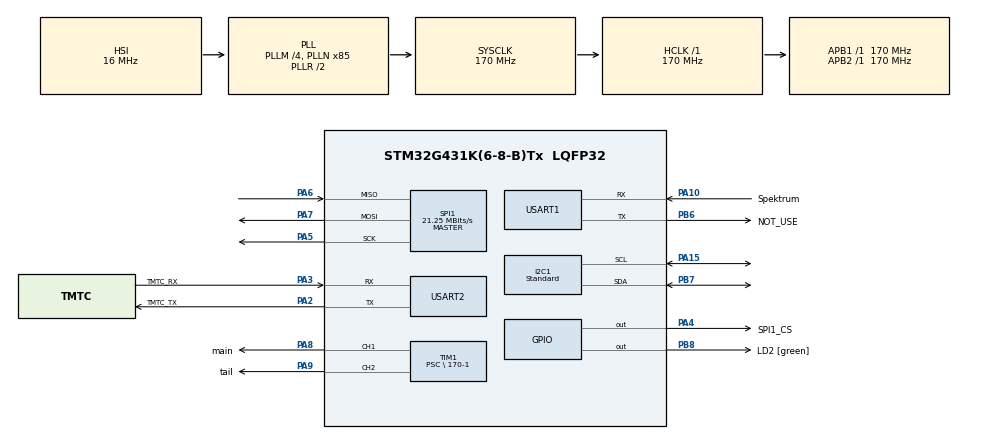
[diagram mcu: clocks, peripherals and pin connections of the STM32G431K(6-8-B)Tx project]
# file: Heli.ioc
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Dma.Request0=USART1_RX
Dma.USART1_RX.0.Direction=DMA_PERIPH_TO_MEMORY
Dma.USART1_RX.0.EventEnable=DISABLE
Dma.USART1_RX.0.Instance=DMA1_Channel1
Dma.USART1_RX.0.MemDataAlignment=DMA_MDATAALIGN_BYTE
Dma.USART1_RX.0.MemInc=DMA_MINC_ENABLE
Dma.USART1_RX.0.Mode=DMA_CIRCULAR
Dma.USART1_RX.0.PeriphDataAlignment=DMA_PDATAALIGN_BYTE
Dma.USART1_RX.0.PeriphInc=DMA_PINC_DISABLE
Dma.USART1_RX.0.Polarity=HAL_DMAMUX_REQ_GEN_RISING
Dma.USART1_RX.0.Priority=DMA_PRIORITY_LOW
Dma.USART1_RX.0.RequestNumber=1
Dma.USART1_RX.0.SignalID=NONE
Dma.USART1_RX.0.SyncEnable=DISABLE
Dma.USART1_RX.0.SyncPolarity=HAL_DMAMUX_SYNC_NO_EVENT
Dma.USART1_RX.0.SyncRequestNumber=1
Dma.USART1_RX.0.SyncSignalID=NONE
FREERTOS.Queues01=RCdata,1,RC,0,Static,RCdataBuffer,RCdataControlBlock;IMUdata,1,IMU,0,Static,IMUdataBuffer,IMUdataControlBlock;MAGdata,1,MOTOR,0,Static,MAGdataBuffer,MAGdataControlBlock;CMDdata,1,RPYT_CMD,0,Static,CMDdataBuffer,CMDdataControlBlock;PWMdata,1,PWM_CMD,0,Static,PWMdataBuffer,PWMdataControlBlock
FREERTOS.Tasks01=RadioCommand,40,128,StartRadioCommand,Default,NULL,Static,RadioCommandBuffer,RadioCommandControlBlock;ReadIMU,24,128,StartReadIMU,Default,NULL,Static,ReadIMUBuffer,ReadIMUControlBlock;ReadMAG,40,128,StartReadMAG,Default,NULL,Static,ReadMAGBuffer,ReadMAGControlBlock;AttitudeControl,24,128,StartAttitudeControl,Default,NULL,Static,AttitudeControlBuffer,AttitudeControlControlBlock;CyclicPitchCont,32,128,StartCyclicPitchControl,Default,NULL,Static,CyclicPitchContBuffer,CyclicPitchContControlBlock;MotorOutput,32,128,StartMotorOutput,Default,NULL,Static,MotorOutputBuffer,MotorOutputControlBlock
FREERTOS.configUSE_NEWLIB_REENTRANT=1
I2C1.CustomTiming=Disabled
I2C1.I2C_Speed_Mode=I2C_Standard
I2C1.Timing=0x30A0A7FB
Mcu.Family=STM32G4
Mcu.Name=STM32G431K(6-8-B)Tx
Mcu.Package=LQFP32
NVIC.DMA1_Channel1_IRQn=true\:5\:0\:false\:false\:true\:true\:false\:true
NVIC.PriorityGroup=NVIC_PRIORITYGROUP_4
NVIC.TIM2_IRQn=true\:15\:0\:false\:false\:true\:false\:false\:true
NVIC.TIM3_IRQn=true\:5\:0\:false\:false\:true\:true\:true\:true
NVIC.TIM4_IRQn=true\:5\:0\:false\:false\:true\:true\:true\:true
NVIC.TimeBase=TIM2_IRQn
NVIC.TimeBaseIP=TIM2
PA10.GPIO_Label=Spektrum
PA10.Mode=Asynchronous
PA10.Signal=USART1_RX
PA13.GPIO_Label=T_SWDIO
PA13.Mode=Serial_Wire
PA13.Signal=SYS_JTMS-SWDIO
PA14.GPIO_Label=T_SWCLK
PA14.Mode=Serial_Wire
PA14.Signal=SYS_JTCK-SWCLK
PA15.Mode=I2C
PA15.Signal=I2C1_SCL
PA2.GPIO_Label=TMTC_TX
PA2.Mode=Asynchronous
PA2.Signal=USART2_TX
PA3.GPIO_Label=TMTC_RX
PA3.Mode=Asynchronous
PA3.Signal=USART2_RX
PA4.GPIO_Label=SPI1_CS
PA4.Signal=GPIO_Output
PA5.Mode=Full_Duplex_Master
PA5.Signal=SPI1_SCK
PA6.Mode=Full_Duplex_Master
PA6.Signal=SPI1_MISO
PA7.Mode=Full_Duplex_Master
PA7.Signal=SPI1_MOSI
PA8.GPIO_Label=main
PA8.Signal=S_TIM1_CH1
PA9.GPIO_Label=tail
PA9.Signal=S_TIM1_CH2
PB6.GPIO_Label=NOT_USE
PB6.Mode=Asynchronous
PB6.Signal=USART1_TX
PB7.Mode=I2C
PB7.Signal=I2C1_SDA
PB8-BOOT0.GPIO_Label=LD2 [green]
PB8-BOOT0.Signal=GPIO_Output
ProjectManager.HeapSize=0x200
ProjectManager.StackSize=0x400
ProjectManager.TargetToolchain=STM32CubeIDE
RCC.ADC12Freq_Value=170000000
RCC.AHBFreq_Value=170000000
RCC.APB1Freq_Value=170000000
RCC.APB1TimFreq_Value=170000000
RCC.APB2Freq_Value=170000000
RCC.APB2TimFreq_Value=170000000
RCC.CortexFreq_Value=170000000
RCC.EXTERNAL_CLOCK_VALUE=12288000
RCC.HCLKFreq_Value=170000000
RCC.HSE_VALUE=8000000
RCC.HSI48_VALUE=48000000
RCC.HSI_VALUE=16000000
RCC.LSE_VALUE=32768
RCC.PLLM=RCC_PLLM_DIV4
RCC.PLLN=85
RCC.SYSCLKFreq_VALUE=170000000
RCC.SYSCLKSource=RCC_SYSCLKSOURCE_PLLCLK
RCC.USBFreq_Value=170000000
RCC.VCOOutputFreq_Value=340000000
SH.S_TIM1_CH1.0=TIM1_CH1,PWM Generation1 CH1
SH.S_TIM1_CH2.0=TIM1_CH2,PWM Generation2 CH2
SPI1.BaudRatePrescaler=SPI_BAUDRATEPRESCALER_8
SPI1.CLKPhase=SPI_PHASE_2EDGE
SPI1.CalculateBaudRate=21.25 MBits/s
SPI1.DataSize=SPI_DATASIZE_16BIT
SPI1.Direction=SPI_DIRECTION_2LINES
SPI1.Mode=SPI_MODE_MASTER
SPI1.VirtualType=VM_MASTER
TIM1.Channel-PWM\ Generation1\ CH1=TIM_CHANNEL_1
TIM1.Channel-PWM\ Generation2\ CH2=TIM_CHANNEL_2
TIM1.PeriodNoDither=2500-1
TIM1.Prescaler=\ 170-1
TIM3.PeriodNoDither=100-1
TIM3.Prescaler=17-1
TIM4.PeriodNoDither=10000
TIM4.Prescaler=17000-1
USART1.VirtualMode-Asynchronous=VM_ASYNC
USART2.VirtualMode-Asynchronous=VM_ASYNC
USART2.WordLength=WORDLENGTH_8B
VP_FREERTOS_VS_CMSIS_V2.Mode=CMSIS_V2
VP_SYS_VS_DBSignals.Mode=DisableDeadBatterySignals
VP_SYS_VS_tim2.Mode=TIM2
VP_TIM1_VS_ClockSourceINT.Mode=Internal
VP_TIM3_VS_ClockSourceINT.Mode=Internal
VP_TIM4_VS_ClockSourceINT.Mode=Internal
board=NUCLEO-G431KB

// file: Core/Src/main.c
/* USER CODE BEGIN Header */
/**
  ******************************************************************************
  * @file           : main.c
  * @brief          : Main program body
  ******************************************************************************
  * @attention
  *
  * Copyright (c) 2022 STMicroelectronics.
  * All rights reserved.
  *
  * This software is licensed under terms that can be found in the LICENSE file
  * in the root directory of this software component.
  * If no LICENSE file comes with this software, it is provided AS-IS.
  *
  ******************************************************************************
  */
/* USER CODE END Header */
#include "main.h"
#include "cmsis_os.h"

typedef StaticTask_t osStaticThreadDef_t;
typedef StaticQueue_t osStaticMessageQDef_t;

I2C_HandleTypeDef hi2c1;

SPI_HandleTypeDef hspi1;

TIM_HandleTypeDef htim1;
TIM_HandleTypeDef htim3;
TIM_HandleTypeDef htim4;

UART_HandleTypeDef huart1;
UART_HandleTypeDef huart2;
DMA_HandleTypeDef hdma_usart1_rx;

/* Definitions for RadioCommand */
osThreadId_t RadioCommandHandle;
uint32_t RadioCommandBuffer[ 128 ];
osStaticThreadDef_t RadioCommandControlBlock;
const osThreadAttr_t RadioCommand_attributes = {
  .name = "RadioCommand",
  .stack_mem = &RadioCommandBuffer[0],
  .stack_size = sizeof(RadioCommandBuffer),
  .cb_mem = &RadioCommandControlBlock,
  .cb_size = sizeof(RadioCommandControlBlock),
  .priority = (osPriority_t) osPriorityHigh,
};
/* Definitions for ReadIMU */
osThreadId_t ReadIMUHandle;
uint32_t ReadIMUBuffer[ 128 ];
osStaticThreadDef_t ReadIMUControlBlock;
const osThreadAttr_t ReadIMU_attributes = {
  .name = "ReadIMU",
  .stack_mem = &ReadIMUBuffer[0],
  .stack_size = sizeof(ReadIMUBuffer),
  .cb_mem = &ReadIMUControlBlock,
  .cb_size = sizeof(ReadIMUControlBlock),
  .priority = (osPriority_t) osPriorityNormal,
};
/* Definitions for ReadMAG */
osThreadId_t ReadMAGHandle;
uint32_t ReadMAGBuffer[ 128 ];
osStaticThreadDef_t ReadMAGControlBlock;
const osThreadAttr_t ReadMAG_attributes = {
  .name = "ReadMAG",
  .stack_mem = &ReadMAGBuffer[0],
  .stack_size = sizeof(ReadMAGBuffer),
  .cb_mem = &ReadMAGControlBlock,
  .cb_size = sizeof(ReadMAGControlBlock),
  .priority = (osPriority_t) osPriorityHigh,
};
/* Definitions for AttitudeControl */
osThreadId_t AttitudeControlHandle;
uint32_t AttitudeControlBuffer[ 128 ];
osStaticThreadDef_t AttitudeControlControlBlock;
const osThreadAttr_t AttitudeControl_attributes = {
  .name = "AttitudeControl",
  .stack_mem = &AttitudeControlBuffer[0],
  .stack_size = sizeof(AttitudeControlBuffer),
  .cb_mem = &AttitudeControlControlBlock,
  .cb_size = sizeof(AttitudeControlControlBlock),
  .priority = (osPriority_t) osPriorityNormal,
};
/* Definitions for CyclicPitchCont */
osThreadId_t CyclicPitchContHandle;
uint32_t CyclicPitchContBuffer[ 128 ];
osStaticThreadDef_t CyclicPitchContControlBlock;
const osThreadAttr_t CyclicPitchCont_attributes = {
  .name = "CyclicPitchCont",
  .stack_mem = &CyclicPitchContBuffer[0],
  .stack_size = sizeof(CyclicPitchContBuffer),
  .cb_mem = &CyclicPitchContControlBlock,
  .cb_size = sizeof(CyclicPitchContControlBlock),
  .priority = (osPriority_t) osPriorityAboveNormal,
};
/* Definitions for MotorOutput */
osThreadId_t MotorOutputHandle;
uint32_t MotorOutputBuffer[ 128 ];
osStaticThreadDef_t MotorOutputControlBlock;
const osThreadAttr_t MotorOutput_attributes = {
  .name = "MotorOutput",
  .stack_mem = &MotorOutputBuffer[0],
  .stack_size = sizeof(MotorOutputBuffer),
  .cb_mem = &MotorOutputControlBlock,
  .cb_size = sizeof(MotorOutputControlBlock),
  .priority = (osPriority_t) osPriorityAboveNormal,
};
/* Definitions for RCdata */
osMessageQueueId_t RCdataHandle;
uint8_t RCdataBuffer[ 1 * sizeof( RC ) ];
osStaticMessageQDef_t RCdataControlBlock;
const osMessageQueueAttr_t RCdata_attributes = {
  .name = "RCdata",
  .cb_mem = &RCdataControlBlock,
  .cb_size = sizeof(RCdataControlBlock),
  .mq_mem = &RCdataBuffer,
  .mq_size = sizeof(RCdataBuffer)
};
/* Definitions for IMUdata */
osMessageQueueId_t IMUdataHandle;
uint8_t IMUdataBuffer[ 1 * sizeof( IMU ) ];
osStaticMessageQDef_t IMUdataControlBlock;
const osMessageQueueAttr_t IMUdata_attributes = {
  .name = "IMUdata",
  .cb_mem = &IMUdataControlBlock,
  .cb_size = sizeof(IMUdataControlBlock),
  .mq_mem = &IMUdataBuffer,
  .mq_size = sizeof(IMUdataBuffer)
};
/* Definitions for MAGdata */
osMessageQueueId_t MAGdataHandle;
uint8_t MAGdataBuffer[ 1 * sizeof( MOTOR ) ];
osStaticMessageQDef_t MAGdataControlBlock;
const osMessageQueueAttr_t MAGdata_attributes = {
  .name = "MAGdata",
  .cb_mem = &MAGdataControlBlock,
  .cb_size = sizeof(MAGdataControlBlock),
  .mq_mem = &MAGdataBuffer,
  .mq_size = sizeof(MAGdataBuffer)
};
/* Definitions for CMDdata */
osMessageQueueId_t CMDdataHandle;
uint8_t CMDdataBuffer[ 1 * sizeof( RPYT_CMD ) ];
osStaticMessageQDef_t CMDdataControlBlock;
const osMessageQueueAttr_t CMDdata_attributes = {
  .name = "CMDdata",
  .cb_mem = &CMDdataControlBlock,
  .cb_size = sizeof(CMDdataControlBlock),
  .mq_mem = &CMDdataBuffer,
  .mq_size = sizeof(CMDdataBuffer)
};
/* Definitions for PWMdata */
osMessageQueueId_t PWMdataHandle;
uint8_t PWMdataBuffer[ 1 * sizeof( PWM_CMD ) ];
osStaticMessageQDef_t PWMdataControlBlock;
const osMessageQueueAttr_t PWMdata_attributes = {
  .name = "PWMdata",
  .cb_mem = &PWMdataControlBlock,
  .cb_size = sizeof(PWMdataControlBlock),
  .mq_mem = &PWMdataBuffer,
  .mq_size = sizeof(PWMdataBuffer)
};

void SystemClock_Config(void);
static void MX_GPIO_Init(void);
static void MX_USART2_UART_Init(void);
static void MX_DMA_Init(void);
static void MX_I2C1_Init(void);
static void MX_SPI1_Init(void);
static void MX_TIM1_Init(void);
static void MX_USART1_UART_Init(void);
static void MX_TIM3_Init(void);
static void MX_TIM4_Init(void);
void StartRadioCommand(void *argument);
void StartReadIMU(void *argument);
void StartReadMAG(void *argument);
void StartAttitudeControl(void *argument);
void StartCyclicPitchControl(void *argument);
void StartMotorOutput(void *argument);

/* USER CODE BEGIN PFP */

void MAG_check(void );
void RC_check(void );
void IMU_check(void );
void PWM_check(void );

/* USER CODE END PFP */

/* USER CODE BEGIN 0 */

volatile unsigned long gTick = 0;

/* USER CODE END 0 */

int main(void)
{

  /* MCU Configuration--------------------------------------------------------*/

  /* Reset of all peripherals, Initializes the Flash interface and the Systick. */
  HAL_Init();

  /* Configure the system clock */
  SystemClock_Config();

  /* Initialize all configured peripherals */
  MX_GPIO_Init();
  MX_USART2_UART_Init();
  MX_DMA_Init();
  MX_I2C1_Init();
  MX_SPI1_Init();
  MX_TIM1_Init();
  MX_USART1_UART_Init();
  MX_TIM3_Init();
  MX_TIM4_Init();
  /* USER CODE BEGIN 2 */

  HAL_GPIO_WritePin(LD2_GPIO_Port, LD2_Pin, GPIO_PIN_SET);
  HAL_Delay(500);
  HAL_GPIO_WritePin(LD2_GPIO_Port, LD2_Pin, GPIO_PIN_RESET);

  MAG_check();
  RC_check();
  IMU_check();
  PWM_check();

  HAL_GPIO_WritePin(LD2_GPIO_Port, LD2_Pin, GPIO_PIN_SET);

  /* USER CODE END 2 */

  /* Init scheduler */
  osKernelInitialize();

  /* Create the queue(s) */
  /* creation of RCdata */
  RCdataHandle = osMessageQueueNew (1, sizeof(RC), &RCdata_attributes);

  /* creation of IMUdata */
  IMUdataHandle = osMessageQueueNew (1, sizeof(IMU), &IMUdata_attributes);

  /* creation of MAGdata */
  MAGdataHandle = osMessageQueueNew (1, sizeof(MOTOR), &MAGdata_attributes);

  /* creation of CMDdata */
  CMDdataHandle = osMessageQueueNew (1, sizeof(RPYT_CMD), &CMDdata_attributes);

  /* creation of PWMdata */
  PWMdataHandle = osMessageQueueNew (1, sizeof(PWM_CMD), &PWMdata_attributes);

  /* Create the thread(s) */
  /* creation of RadioCommand */
  RadioCommandHandle = osThreadNew(StartRadioCommand, NULL, &RadioCommand_attributes);

  /* creation of ReadIMU */
  ReadIMUHandle = osThreadNew(StartReadIMU, NULL, &ReadIMU_attributes);

  /* creation of ReadMAG */
  ReadMAGHandle = osThreadNew(StartReadMAG, NULL, &ReadMAG_attributes);

  /* creation of AttitudeControl */
  AttitudeControlHandle = osThreadNew(StartAttitudeControl, NULL, &AttitudeControl_attributes);

  /* creation of CyclicPitchCont */
  CyclicPitchContHandle = osThreadNew(StartCyclicPitchControl, NULL, &CyclicPitchCont_attributes);

  /* creation of MotorOutput */
  MotorOutputHandle = osThreadNew(StartMotorOutput, NULL, &MotorOutput_attributes);

  /* Start scheduler */
  osKernelStart();

  /* We should never get here as control is now taken by the scheduler */
  /* Infinite loop */
  while (1)
  {

  }
}

void SystemClock_Config(void)
{
  RCC_OscInitTypeDef RCC_OscInitStruct = {0};
  RCC_ClkInitTypeDef RCC_ClkInitStruct = {0};

  /** Configure the main internal regulator output voltage
  */
  HAL_PWREx_ControlVoltageScaling(PWR_REGULATOR_VOLTAGE_SCALE1_BOOST);
  /** Initializes the RCC Oscillators according to the specified parameters
  * in the RCC_OscInitTypeDef structure.
  */
  RCC_OscInitStruct.OscillatorType = RCC_OSCILLATORTYPE_HSI;
  RCC_OscInitStruct.HSIState = RCC_HSI_ON;
  RCC_OscInitStruct.HSICalibrationValue = RCC_HSICALIBRATION_DEFAULT;
  RCC_OscInitStruct.PLL.PLLState = RCC_PLL_ON;
  RCC_OscInitStruct.PLL.PLLSource = RCC_PLLSOURCE_HSI;
  RCC_OscInitStruct.PLL.PLLM = RCC_PLLM_DIV4;
  RCC_OscInitStruct.PLL.PLLN = 85;
  RCC_OscInitStruct.PLL.PLLP = RCC_PLLP_DIV2;
  RCC_OscInitStruct.PLL.PLLQ = RCC_PLLQ_DIV2;
  RCC_OscInitStruct.PLL.PLLR = RCC_PLLR_DIV2;
  if (HAL_RCC_OscConfig(&RCC_OscInitStruct) != HAL_OK)
  {
    Error_Handler();
  }
  /** Initializes the CPU, AHB and APB buses clocks
  */
  RCC_ClkInitStruct.ClockType = RCC_CLOCKTYPE_HCLK|RCC_CLOCKTYPE_SYSCLK
                              |RCC_CLOCKTYPE_PCLK1|RCC_CLOCKTYPE_PCLK2;
  RCC_ClkInitStruct.SYSCLKSource = RCC_SYSCLKSOURCE_PLLCLK;
  RCC_ClkInitStruct.AHBCLKDivider = RCC_SYSCLK_DIV1;
  RCC_ClkInitStruct.APB1CLKDivider = RCC_HCLK_DIV1;
  RCC_ClkInitStruct.APB2CLKDivider = RCC_HCLK_DIV1;

  if (HAL_RCC_ClockConfig(&RCC_ClkInitStruct, FLASH_LATENCY_4) != HAL_OK)
  {
    Error_Handler();
  }
}

static void MX_I2C1_Init(void)
{

  hi2c1.Instance = I2C1;
  hi2c1.Init.Timing = 0x30A0A7FB;
  hi2c1.Init.OwnAddress1 = 0;
  hi2c1.Init.AddressingMode = I2C_ADDRESSINGMODE_7BIT;
  hi2c1.Init.DualAddressMode = I2C_DUALADDRESS_DISABLE;
  hi2c1.Init.OwnAddress2 = 0;
  hi2c1.Init.OwnAddress2Masks = I2C_OA2_NOMASK;
  hi2c1.Init.GeneralCallMode = I2C_GENERALCALL_DISABLE;
  hi2c1.Init.NoStretchMode = I2C_NOSTRETCH_DISABLE;
  if (HAL_I2C_Init(&hi2c1) != HAL_OK)
  {
    Error_Handler();
  }
  /** Configure Analogue filter
  */
  if (HAL_I2CEx_ConfigAnalogFilter(&hi2c1, I2C_ANALOGFILTER_ENABLE) != HAL_OK)
  {
    Error_Handler();
  }
  /** Configure Digital filter
  */
  if (HAL_I2CEx_ConfigDigitalFilter(&hi2c1, 0) != HAL_OK)
  {
    Error_Handler();
  }

}

static void MX_SPI1_Init(void)
{

  /* SPI1 parameter configuration*/
  hspi1.Instance = SPI1;
  hspi1.Init.Mode = SPI_MODE_MASTER;
  hspi1.Init.Direction = SPI_DIRECTION_2LINES;
  hspi1.Init.DataSize = SPI_DATASIZE_16BIT;
  hspi1.Init.CLKPolarity = SPI_POLARITY_LOW;
  hspi1.Init.CLKPhase = SPI_PHASE_2EDGE;
  hspi1.Init.NSS = SPI_NSS_SOFT;
  hspi1.Init.BaudRatePrescaler = SPI_BAUDRATEPRESCALER_8;
  hspi1.Init.FirstBit = SPI_FIRSTBIT_MSB;
  hspi1.Init.TIMode = SPI_TIMODE_DISABLE;
  hspi1.Init.CRCCalculation = SPI_CRCCALCULATION_DISABLE;
  hspi1.Init.CRCPolynomial = 7;
  hspi1.Init.CRCLength = SPI_CRC_LENGTH_DATASIZE;
  hspi1.Init.NSSPMode = SPI_NSS_PULSE_DISABLE;
  if (HAL_SPI_Init(&hspi1) != HAL_OK)
  {
    Error_Handler();
  }

}

static void MX_TIM1_Init(void)
{

  TIM_ClockConfigTypeDef sClockSourceConfig = {0};
  TIM_MasterConfigTypeDef sMasterConfig = {0};
  TIM_OC_InitTypeDef sConfigOC = {0};
  TIM_BreakDeadTimeConfigTypeDef sBreakDeadTimeConfig = {0};

  htim1.Instance = TIM1;
  htim1.Init.Prescaler = 170-1;
  htim1.Init.CounterMode = TIM_COUNTERMODE_UP;
  htim1.Init.Period = 2499;
  htim1.Init.ClockDivision = TIM_CLOCKDIVISION_DIV1;
  htim1.Init.RepetitionCounter = 0;
  htim1.Init.AutoReloadPreload = TIM_AUTORELOAD_PRELOAD_DISABLE;
  if (HAL_TIM_Base_Init(&htim1) != HAL_OK)
  {
    Error_Handler();
  }
  sClockSourceConfig.ClockSource = TIM_CLOCKSOURCE_INTERNAL;
  if (HAL_TIM_ConfigClockSource(&htim1, &sClockSourceConfig) != HAL_OK)
  {
    Error_Handler();
  }
  if (HAL_TIM_PWM_Init(&htim1) != HAL_OK)
  {
    Error_Handler();
  }
  sMasterConfig.MasterOutputTrigger = TIM_TRGO_RESET;
  sMasterConfig.MasterOutputTrigger2 = TIM_TRGO2_RESET;
  sMasterConfig.MasterSlaveMode = TIM_MASTERSLAVEMODE_DISABLE;
  if (HAL_TIMEx_MasterConfigSynchronization(&htim1, &sMasterConfig) != HAL_OK)
  {
    Error_Handler();
  }
  sConfigOC.OCMode = TIM_OCMODE_PWM1;
  sConfigOC.Pulse = 0;
  sConfigOC.OCPolarity = TIM_OCPOLARITY_HIGH;
  sConfigOC.OCNPolarity = TIM_OCNPOLARITY_HIGH;
  sConfigOC.OCFastMode = TIM_OCFAST_DISABLE;
  sConfigOC.OCIdleState = TIM_OCIDLESTATE_RESET;
  sConfigOC.OCNIdleState = TIM_OCNIDLESTATE_RESET;
  if (HAL_TIM_PWM_ConfigChannel(&htim1, &sConfigOC, TIM_CHANNEL_1) != HAL_OK)
  {
    Error_Handler();
  }
  if (HAL_TIM_PWM_ConfigChannel(&htim1, &sConfigOC, TIM_CHANNEL_2) != HAL_OK)
  {
    Error_Handler();
  }
  sBreakDeadTimeConfig.OffStateRunMode = TIM_OSSR_DISABLE;
  sBreakDeadTimeConfig.OffStateIDLEMode = TIM_OSSI_DISABLE;
  sBreakDeadTimeConfig.LockLevel = TIM_LOCKLEVEL_OFF;
  sBreakDeadTimeConfig.DeadTime = 0;
  sBreakDeadTimeConfig.BreakState = TIM_BREAK_DISABLE;
  sBreakDeadTimeConfig.BreakPolarity = TIM_BREAKPOLARITY_HIGH;
  sBreakDeadTimeConfig.BreakFilter = 0;
  sBreakDeadTimeConfig.BreakAFMode = TIM_BREAK_AFMODE_INPUT;
  sBreakDeadTimeConfig.Break2State = TIM_BREAK2_DISABLE;
  sBreakDeadTimeConfig.Break2Polarity = TIM_BREAK2POLARITY_HIGH;
  sBreakDeadTimeConfig.Break2Filter = 0;
  sBreakDeadTimeConfig.Break2AFMode = TIM_BREAK_AFMODE_INPUT;
  sBreakDeadTimeConfig.AutomaticOutput = TIM_AUTOMATICOUTPUT_DISABLE;
  if (HAL_TIMEx_ConfigBreakDeadTime(&htim1, &sBreakDeadTimeConfig) != HAL_OK)
  {
    Error_Handler();
  }
  HAL_TIM_MspPostInit(&htim1);

}

static void MX_TIM3_Init(void)
{

  TIM_ClockConfigTypeDef sClockSourceConfig = {0};
  TIM_MasterConfigTypeDef sMasterConfig = {0};

  htim3.Instance = TIM3;
  htim3.Init.Prescaler = 17-1;
  htim3.Init.CounterMode = TIM_COUNTERMODE_UP;
  htim3.Init.Period = 99;
  htim3.Init.ClockDivision = TIM_CLOCKDIVISION_DIV1;
  htim3.Init.AutoReloadPreload = TIM_AUTORELOAD_PRELOAD_DISABLE;
  if (HAL_TIM_Base_Init(&htim3) != HAL_OK)
  {
    Error_Handler();
  }
  sClockSourceConfig.ClockSource = TIM_CLOCKSOURCE_INTERNAL;
  if (HAL_TIM_ConfigClockSource(&htim3, &sClockSourceConfig) != HAL_OK)
  {
    Error_Handler();
  }
  sMasterConfig.MasterOutputTrigger = TIM_TRGO_RESET;
  sMasterConfig.MasterSlaveMode = TIM_MASTERSLAVEMODE_DISABLE;
  if (HAL_TIMEx_MasterConfigSynchronization(&htim3, &sMasterConfig) != HAL_OK)
  {
    Error_Handler();
  }
  /* USER CODE BEGIN TIM3_Init 2 */
  HAL_TIM_Base_MspInit(&htim3);
  HAL_TIM_Base_Start_IT(&htim3);
  /* USER CODE END TIM3_Init 2 */

}

static void MX_TIM4_Init(void)
{

  TIM_ClockConfigTypeDef sClockSourceConfig = {0};
  TIM_MasterConfigTypeDef sMasterConfig = {0};

  htim4.Instance = TIM4;
  htim4.Init.Prescaler = 17000-1;
  htim4.Init.CounterMode = TIM_COUNTERMODE_UP;
  htim4.Init.Period = 10000;
  htim4.Init.ClockDivision = TIM_CLOCKDIVISION_DIV1;
  htim4.Init.AutoReloadPreload = TIM_AUTORELOAD_PRELOAD_DISABLE;
  if (HAL_TIM_Base_Init(&htim4) != HAL_OK)
  {
    Error_Handler();
  }
  sClockSourceConfig.ClockSource = TIM_CLOCKSOURCE_INTERNAL;
  if (HAL_TIM_ConfigClockSource(&htim4, &sClockSourceConfig) != HAL_OK)
  {
    Error_Handler();
  }
  sMasterConfig.MasterOutputTrigger = TIM_TRGO_RESET;
  sMasterConfig.MasterSlaveMode = TIM_MASTERSLAVEMODE_DISABLE;
  if (HAL_TIMEx_MasterConfigSynchronization(&htim4, &sMasterConfig) != HAL_OK)
  {
    Error_Handler();
  }
  /* USER CODE BEGIN TIM4_Init 2 */
  HAL_TIM_Base_MspInit(&htim4);
  HAL_TIM_Base_Start_IT(&htim4);
  /* USER CODE END TIM4_Init 2 */

}

static void MX_USART1_UART_Init(void)
{

  huart1.Instance = USART1;
  huart1.Init.BaudRate = 115200;
  huart1.Init.WordLength = UART_WORDLENGTH_8B;
  huart1.Init.StopBits = UART_STOPBITS_1;
  huart1.Init.Parity = UART_PARITY_NONE;
  huart1.Init.Mode = UART_MODE_TX_RX;
  huart1.Init.HwFlowCtl = UART_HWCONTROL_NONE;
  huart1.Init.OverSampling = UART_OVERSAMPLING_16;
  huart1.Init.OneBitSampling = UART_ONE_BIT_SAMPLE_DISABLE;
  huart1.Init.ClockPrescaler = UART_PRESCALER_DIV1;
  huart1.AdvancedInit.AdvFeatureInit = UART_ADVFEATURE_NO_INIT;
  if (HAL_UART_Init(&huart1) != HAL_OK)
  {
    Error_Handler();
  }
  if (HAL_UARTEx_SetTxFifoThreshold(&huart1, UART_TXFIFO_THRESHOLD_1_8) != HAL_OK)
  {
    Error_Handler();
  }
  if (HAL_UARTEx_SetRxFifoThreshold(&huart1, UART_RXFIFO_THRESHOLD_1_8) != HAL_OK)
  {
    Error_Handler();
  }
  if (HAL_UARTEx_DisableFifoMode(&huart1) != HAL_OK)
  {
    Error_Handler();
  }
  /* USER CODE BEGIN USART1_Init 2 */

  HAL_UART_Receive_DMA(&huart1, rc_byte_data, 16);

  /* USER CODE END USART1_Init 2 */

}

static void MX_USART2_UART_Init(void)
{

  huart2.Instance = USART2;
  huart2.Init.BaudRate = 115200;
  huart2.Init.WordLength = UART_WORDLENGTH_8B;
  huart2.Init.StopBits = UART_STOPBITS_1;
  huart2.Init.Parity = UART_PARITY_NONE;
  huart2.Init.Mode = UART_MODE_TX_RX;
  huart2.Init.HwFlowCtl = UART_HWCONTROL_NONE;
  huart2.Init.OverSampling = UART_OVERSAMPLING_16;
  huart2.Init.OneBitSampling = UART_ONE_BIT_SAMPLE_DISABLE;
  huart2.Init.ClockPrescaler = UART_PRESCALER_DIV1;
  huart2.AdvancedInit.AdvFeatureInit = UART_ADVFEATURE_NO_INIT;
  if (HAL_UART_Init(&huart2) != HAL_OK)
  {
    Error_Handler();
  }
  if (HAL_UARTEx_SetTxFifoThreshold(&huart2, UART_TXFIFO_THRESHOLD_1_8) != HAL_OK)
  {
    Error_Handler();
  }
  if (HAL_UARTEx_SetRxFifoThreshold(&huart2, UART_RXFIFO_THRESHOLD_1_8) != HAL_OK)
  {
    Error_Handler();
  }
  if (HAL_UARTEx_DisableFifoMode(&huart2) != HAL_OK)
  {
    Error_Handler();
  }

}

static void MX_DMA_Init(void)
{

  /* DMA controller clock enable */
  __HAL_RCC_DMAMUX1_CLK_ENABLE();
  __HAL_RCC_DMA1_CLK_ENABLE();

  /* DMA interrupt init */
  /* DMA1_Channel1_IRQn interrupt configuration */
  HAL_NVIC_SetPriority(DMA1_Channel1_IRQn, 5, 0);
  HAL_NVIC_EnableIRQ(DMA1_Channel1_IRQn);

}

static void MX_GPIO_Init(void)
{
  GPIO_InitTypeDef GPIO_InitStruct = {0};

  /* GPIO Ports Clock Enable */
  __HAL_RCC_GPIOA_CLK_ENABLE();
  __HAL_RCC_GPIOB_CLK_ENABLE();

  /*Configure GPIO pin Output Level */
  HAL_GPIO_WritePin(SPI1_CS_GPIO_Port, SPI1_CS_Pin, GPIO_PIN_RESET);

  /*Configure GPIO pin Output Level */
  HAL_GPIO_WritePin(LD2_GPIO_Port, LD2_Pin, GPIO_PIN_RESET);

  /*Configure GPIO pin : SPI1_CS_Pin */
  GPIO_InitStruct.Pin = SPI1_CS_Pin;
  GPIO_InitStruct.Mode = GPIO_MODE_OUTPUT_PP;
  GPIO_InitStruct.Pull = GPIO_NOPULL;
  GPIO_InitStruct.Speed = GPIO_SPEED_FREQ_LOW;
  HAL_GPIO_Init(SPI1_CS_GPIO_Port, &GPIO_InitStruct);

  /*Configure GPIO pin : LD2_Pin */
  GPIO_InitStruct.Pin = LD2_Pin;
  GPIO_InitStruct.Mode = GPIO_MODE_OUTPUT_PP;
  GPIO_InitStruct.Pull = GPIO_NOPULL;
  GPIO_InitStruct.Speed = GPIO_SPEED_FREQ_LOW;
  HAL_GPIO_Init(LD2_GPIO_Port, &GPIO_InitStruct);

}

/* USER CODE BEGIN 4 */

void HAL_UART_RxCpltCallback(UART_HandleTypeDef *huartx){
	if(huartx->Instance == huart1.Instance){
		Spektrum_Read();

		HAL_UART_Receive_DMA(&huart1, rc_byte_data, 16);
	}
}

void RC_check(void){
	for(int check = 0; check < 10;){
		if(rc.channel[THROTTLE].pos == 342)	check++;
		else check = 0;
	}
	for(int check = 0; check < 10;){
		if(SWITCH_POS(rc.channel[AUX1].pos) == 0)	check++;
		else check = 0;
	}

}

void IMU_check(void){
	IMU imu  = { 0, };

	wt931_Init(&hi2c1);

	for(int check = 0; check < 5;){
		imu = readIMU();
		if(imu.theta != 0) check++;
		else check = 0;
	}
}

void MAG_check(void){
	MOTOR mag = {0, };

	as5147_Init(&hspi1, SPI1_CS_GPIO_Port, SPI1_CS_Pin);
	//as5147_setZeroPosition();

	sens_time = 11;

	for(int check = 0; check < 20;){
		updatePosition(&mag);
		float err = mag.pre_ang - mag.rad;
		if((err >= -0.5 && err <= 0.5) && mag.rad != 0) check++;
		else check = 0;

		HAL_Delay(5);
	}
	while(mag.rad > 0.1 && mag.rad < 6.1){
		setOffset(&mag);
		updatePosition(&mag);
	}

}

void PWM_check(void){
	  htim1.Instance->CCR1 = PWM_START;
	  htim1.Instance->CCR2 = PWM_START;
}

/* USER CODE END 4 */

void StartRadioCommand(void *argument)
{
  /* USER CODE BEGIN 5 */

  RC rc_cmd = {0, };
  int imu_key = 1;

  /* Infinite loop */
  for(;;)
  {
	if(rc.channel[THROTTLE].pos != 0){
		rc_cmd.thro = map(rc.channel[THROTTLE].pos, RC_MIN, RC_MAX, PWM_MIN, PWM_MAX);     // thro command 				m/s

		rc_cmd.d_pi = map(rc.channel[AILERON].pos, RC_MIN, RC_MAX, 100, -100);			// d(pi)/dt command			deg/s
		rc_cmd.d_theta = map(rc.channel[ELEVATOR].pos, RC_MIN, RC_MAX, -100, 100);		// d(theta)/dt command		deg/s
		rc_cmd.d_psi = map(rc.channel[RUDDER].pos, RC_MIN, RC_MAX, -100, 100);			// d(psi)/dt command		deg/s

		rc_cmd.pi = map(rc.channel[AILERON].pos, RC_MIN, RC_MAX, 70, -70);			// d(pi)/dt command			deg/s
		rc_cmd.theta = map(rc.channel[ELEVATOR].pos, RC_MIN, RC_MAX, -70, 70);		// d(theta)/dt command		deg/s

		if(SWITCH_POS(rc.channel[AUX1].pos) > 0) rc_cmd.arm = 1;
		else rc_cmd.arm = 0;

		rc_cmd.mode = SWITCH_POS(rc.channel[AUX2].pos);

		if(SWITCH_POS(rc.channel[AUX3].pos) > 0 && imu_key == 1) {
			setIMUoffset();
			imu_key = 0;
		}else if(SWITCH_POS(rc.channel[AUX3].pos) == 0){
			imu_key = 1;
		}

		osMessageQueuePut(RCdataHandle, &rc_cmd, 0, 0);
	}
    osDelay(1);
  }
  /* USER CODE END 5 */
}

void StartReadIMU(void *argument)
{
  /* USER CODE BEGIN StartReadIMU */

  IMU imu  = { 0, };

  wt931_Init(&hi2c1);

  /* Infinite loop */
  for(;;)
  {
	imu = readIMU();
	osMessageQueuePut(IMUdataHandle, &imu, 0, 0);

    osDelay(1);
  }
  /* USER CODE END StartReadIMU */
}

void StartReadMAG(void *argument)
{
  /* USER CODE BEGIN StartReadMAG */

  MOTOR mag = {0, };

  as5147_Init(&hspi1, SPI1_CS_GPIO_Port, SPI1_CS_Pin);
  as5147_setZeroPosition();
  setOffset(&mag);

  sens_time = 0;
  sens_start = 0;
  osDelay(1);

  /* Infinite loop */
  for(;;)
  {
	sens_time = gTick - sens_start;
	updatePosition(&mag);
	sens_start = gTick;
	osMessageQueuePut(MAGdataHandle, &mag, 0, 0);

    osDelay(1);
  }
  /* USER CODE END StartReadMAG */
}

void StartAttitudeControl(void *argument)
{
  /* USER CODE BEGIN StartAttitudeControl */
  RC rc_cmd = {0, };
  IMU imu = {0, };
  RPYT_CMD rpy_cmd = {0, };

  while(rc_cmd.arm){}

  int roll_deg = regPID(PID, 9, 2, 1.7);
  int pitch_deg = regPID(PID, 10, 2, 2.3);

  int dyaw = regPID(PI, -0.6, -1.8, 0);

  int droll = regPID(P, 0.5, 0, 0);
  int dpitch = regPID(P, 0.5, 0, 0);

  /* Infinite loop */
  for(;;)
  {
	osMessageQueueGet(RCdataHandle, &rc_cmd, 0, 0);
	osMessageQueueGet(IMUdataHandle, &imu, 0, 0);

	if(rc_cmd.arm){
		switch(rc_cmd.mode){
		case 0: //rare
			rpy_cmd.roll_cmd = rc_cmd.d_pi;
			rpy_cmd.pitch_cmd = rc_cmd.d_theta;
			rpy_cmd.limit_cmd = 100;

			rpy_cmd.yaw_cmd = PWM_MIN + (rc_cmd.thro-PWM_MIN)*0.6 + rc_cmd.d_psi;
			rpy_cmd.throttle_cmd = rc_cmd.thro;
			break;
		case 1: // manual
			rpy_cmd.roll_cmd = rc_cmd.d_pi;
			rpy_cmd.pitch_cmd = rc_cmd.d_theta;
			rpy_cmd.limit_cmd = 100;

			rpy_cmd.yaw_cmd = PWM_MIN + (rc_cmd.thro-PWM_MIN)*0.6 + rc_cmd.d_psi;
			rpy_cmd.throttle_cmd = rc_cmd.thro;
			break;
		case 2: // stabilize
			rpy_cmd.roll_cmd = PIDoutput(droll, imu.P, PIDoutput(roll_deg, imu.pi, rc_cmd.pi));
			rpy_cmd.pitch_cmd = PIDoutput(dpitch, imu.Q, PIDoutput(pitch_deg, imu.theta, rc_cmd.theta));
			rpy_cmd.limit_cmd = 100;

			rpy_cmd.yaw_cmd = PWM_MIN + (rc_cmd.thro-PWM_MIN)*0.6 + PIDoutput(dyaw, imu.R, rc_cmd.d_psi);
			rpy_cmd.throttle_cmd = rc_cmd.thro;
			break;
		}
	}else{
		rpy_cmd.roll_cmd = 0;
		rpy_cmd.pitch_cmd = 0;
		rpy_cmd.limit_cmd = 0;

		rpy_cmd.yaw_cmd = PWM_MIN;
		rpy_cmd.throttle_cmd = PWM_MIN;

		resetState(roll_deg);
		resetState(pitch_deg);
		resetState(dyaw);
		resetState(droll);
		resetState(dpitch);
	}

	osMessageQueuePut(CMDdataHandle, &rpy_cmd, 0, 0);
    osDelay(1);
  }
  /* USER CODE END StartAttitudeControl */
}

void StartCyclicPitchControl(void *argument)
{
  /* USER CODE BEGIN StartCyclicPitchControl */

  RPYT_CMD rpyt_cmd = {0, };
  PWM_CMD pwm_cmd = {0, };
  MOTOR mag = {0, };

  /* Infinite loop */
  for(;;)
  {
	osMessageQueueGet(CMDdataHandle, &rpyt_cmd, 0, 0);
	osMessageQueueGet(MAGdataHandle, &mag, 0, 0);

	pwm_cmd.main_rotor = rpyt_cmd.throttle_cmd + (getOffset(rpyt_cmd, mag)*((rpyt_cmd.throttle_cmd-PWM_MIN)*0.003));
	pwm_cmd.tail_rotor = rpyt_cmd.yaw_cmd;

	osMessageQueuePut(PWMdataHandle, &pwm_cmd, 0, 0);

    osDelay(1);
  }
  /* USER CODE END StartCyclicPitchControl */
}

void StartMotorOutput(void *argument)
{
  /* USER CODE BEGIN StartMotorOutput */
  PWM_CMD pwm_cmd = {0, };

  htim1.Instance->CCR1 = PWM_MIN;
  htim1.Instance->CCR2 = PWM_MIN;

  HAL_TIM_PWM_Start(&htim1, TIM_CHANNEL_1);
  HAL_TIM_PWM_Start(&htim1, TIM_CHANNEL_2);

  /* Infinite loop */
  for(;;)
  {
	osMessageQueueGet(PWMdataHandle, &pwm_cmd, 0, 0);

    htim1.Instance->CCR1 = pwm_cmd.main_rotor;
    htim1.Instance->CCR2 = pwm_cmd.tail_rotor;

    osDelay(1);
  }
  /* USER CODE END StartMotorOutput */
}

void HAL_TIM_PeriodElapsedCallback(TIM_HandleTypeDef *htim)
{
  if (htim->Instance == TIM2) {
    HAL_IncTick();
  }
  /* USER CODE BEGIN Callback 1 */
  if (htim->Instance == TIM3) {
    gTick++;
  }

  if (htim->Instance == TIM4) {
#if 0
	MOTOR mag;
    uint8_t buffer[50] = {0,};
	osMessageQueueGet(MAGdataHandle, &mag, 0, 0);
    sprintf(buffer,"%f\r\n", mag.lpf);
	HAL_UART_Transmit(&huart2, buffer, 50, HAL_TIMEOUT);
#endif
  }
  /* USER CODE END Callback 1 */
}

void Error_Handler(void)
{
  __disable_irq();
  while (1)
  {
  }
}
